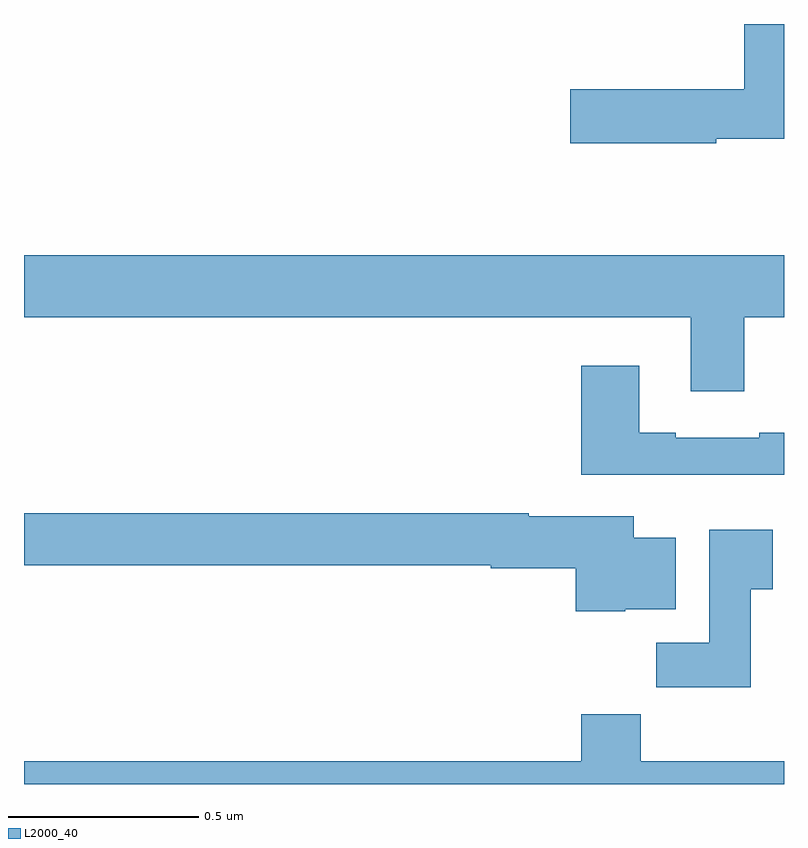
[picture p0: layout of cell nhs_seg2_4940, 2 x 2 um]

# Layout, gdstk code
import gdstk
lib = gdstk.Library(unit=1e-6, precision=1e-09)
def P(c, l, *ps):  # polygons
    for p in ps: c.add(gdstk.Polygon(p, *l))
L2000_40 = (2000, 40)

nhs_seg2_4940 = lib.new_cell('nhs_seg2_4940')
P(nhs_seg2_4940, L2000_40, [(174.822,589.498),(175,589.498),(175,589.8),(174.896,589.8),(174.896,589.628),(174.438,589.628),(174.438,589.486),(174.822,589.486)],
  [(174.895,589.028),(175,589.028),(175,589.192),(173,589.192),(173,589.028),(174.755,589.028),(174.755,588.834),(174.895,588.834)],
  [(175,588.724),(174.935,588.724),(174.935,588.711),(174.715,588.711),(174.715,588.724),(174.619,588.724),(174.619,588.901),(174.467,588.901),(174.467,588.614),(175,588.614)],
  [(174.582,588.26),(174.715,588.26),(174.715,588.448),(174.604,588.448),(174.604,588.505),(174.328,588.505),(174.328,588.512),(173,588.512),(173,588.376),(174.228,588.376),(174.228,588.368),(174.452,588.368),(174.452,588.254),(174.582,588.254)],
  [(174.913,588.313),(174.97,588.313),(174.97,588.469),(174.803,588.469),(174.803,588.172),(174.664,588.172),(174.664,588.054),(174.913,588.054)],
  [(175,587.86),(174.623,587.86),(174.623,587.984),(174.467,587.984),(174.467,587.86),(173,587.86),(173,587.8),(175,587.8)])

lib.write_gds('nhs_seg2_4940.gds')
